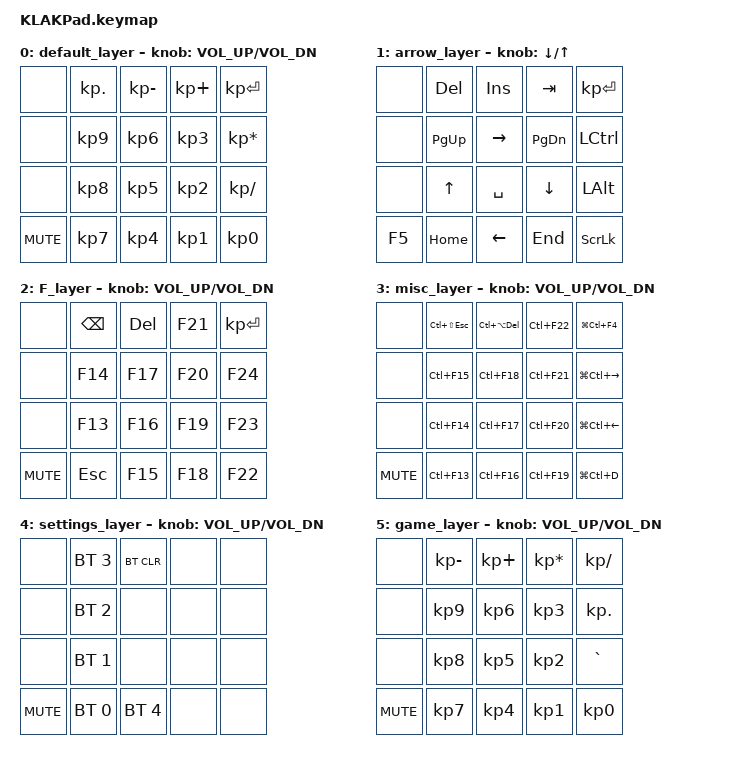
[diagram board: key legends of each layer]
/*
 * Copyright (c) 2022 The ZMK Contributors
 *
 * SPDX-License-Identifier: MIT
 */

#include <behaviors.dtsi>
#include <dt-bindings/zmk/keys.h>
#include <dt-bindings/zmk/bt.h>

#define TIMEOUT 50

&encoder_1 {
    status = "okay";
};

/ {
    combos {
        compatible = "zmk,combos";
        combo_layer0 {
            timeout-ms = <TIMEOUT>;
            key-positions = <16 19>;
            bindings = <&to 0>;
        };
        combo_layer1 {
            timeout-ms = <TIMEOUT>;
            key-positions = <11 14>;
            bindings = <&to 1>;
        };
        combo_layer2 {
            timeout-ms = <TIMEOUT>;
            key-positions = <6 9>;
            bindings = <&to 2>;
        };
        combo_layer3 {
            timeout-ms = <TIMEOUT>;
            key-positions = <1 4>;
            bindings = <&to 3>;
        };
        combo_layer4 {
            timeout-ms = <TIMEOUT>;
            key-positions = <1 4 16 19>;
            bindings = <&to 4>;
        };
        combo_layer5 {
            timeout-ms = <TIMEOUT>;
            key-positions = <1 16>;
            bindings = <&to 5>;
        };
    };

    sensors {
        compatible = "zmk,keymap-sensors";
        sensors = <&encoder_1>;
    };

    keymap {
        compatible = "zmk,keymap";
 
        default_layer {
            bindings = <
                &none       &kp KP_DOT      &kp KP_SUBTRACT &kp KP_PLUS     &kp KP_ENTER
                &none       &kp KP_N9       &kp KP_N6       &kp KP_N3       &kp KP_MULTIPLY
                &none       &kp KP_N8       &kp KP_N5       &kp KP_N2       &kp KP_SLASH
                &kp C_MUTE  &kp KP_N7       &kp KP_N4       &kp KP_N1       &kp KP_N0
            >;
            sensor-bindings = <&inc_dec_kp C_VOL_UP C_VOL_DN>;
        };

        arrow_layer {
            bindings = <
                &none       &kp DELETE      &kp INSERT      &kp TAB         &kp KP_ENTER
                &none       &kp PAGE_UP     &kp RIGHT_ARROW &kp PAGE_DOWN   &kp LCTRL
                &none       &kp UP_ARROW    &kp SPACE       &kp DOWN_ARROW  &kp LALT 
                &kp F5      &kp HOME        &kp LEFT_ARROW  &kp END         &kp SLCK
            >;
            sensor-bindings = <&inc_dec_kp DOWN UP>;
        };

        F_layer {
            bindings = <
                &none       &kp BSPC        &kp DELETE      &kp F21         &kp KP_ENTER
                &none       &kp F14         &kp F17         &kp F20         &kp F24
                &none       &kp F13         &kp F16         &kp F19         &kp F23
                &kp C_MUTE  &kp ESC         &kp F15         &kp F18         &kp F22
            >;
            sensor-bindings = <&inc_dec_kp C_VOL_UP C_VOL_DN>;
        };
        
        misc_layer {
            bindings = <
                &none       &kp LC(LS(ESC)) &kp LC(LA(DEL)) &kp LC(F22)     &kp LG(LC(F4))
                &none       &kp LC(F15)     &kp LC(F18)     &kp LC(F21)     &kp LG(LC(RIGHT))
                &none       &kp LC(F14)     &kp LC(F17)     &kp LC(F20)     &kp LG(LC(LEFT))
                &kp C_MUTE  &kp LC(F13)     &kp LC(F16)     &kp LC(F19)     &kp LG(LC(D))
            >;
            sensor-bindings = <&inc_dec_kp C_VOL_UP C_VOL_DN>;
        };

        settings_layer {
            bindings = <
                &none       &bt BT_SEL 3    &bt BT_CLR      &none           &none
                &none       &bt BT_SEL 2    &none           &none           &none
                &none       &bt BT_SEL 1    &none           &none           &none
                &kp C_MUTE  &bt BT_SEL 0    &bt BT_SEL 4    &none           &none
            >;
            sensor-bindings = <&inc_dec_kp C_VOL_UP C_VOL_DN>;
        };

        game_layer {
            bindings = <
                &none       &kp KP_SUBTRACT &kp KP_PLUS     &kp KP_MULTIPLY &kp KP_DIVIDE
                &none       &kp KP_N9       &kp KP_N6       &kp KP_N3       &kp KP_DOT
                &none       &kp KP_N8       &kp KP_N5       &kp KP_N2       &kp GRAVE
                &kp C_MUTE  &kp KP_N7       &kp KP_N4       &kp KP_N1       &kp KP_N0
            >;
            sensor-bindings = <&inc_dec_kp C_VOL_UP C_VOL_DN>;
        };
    };
};
